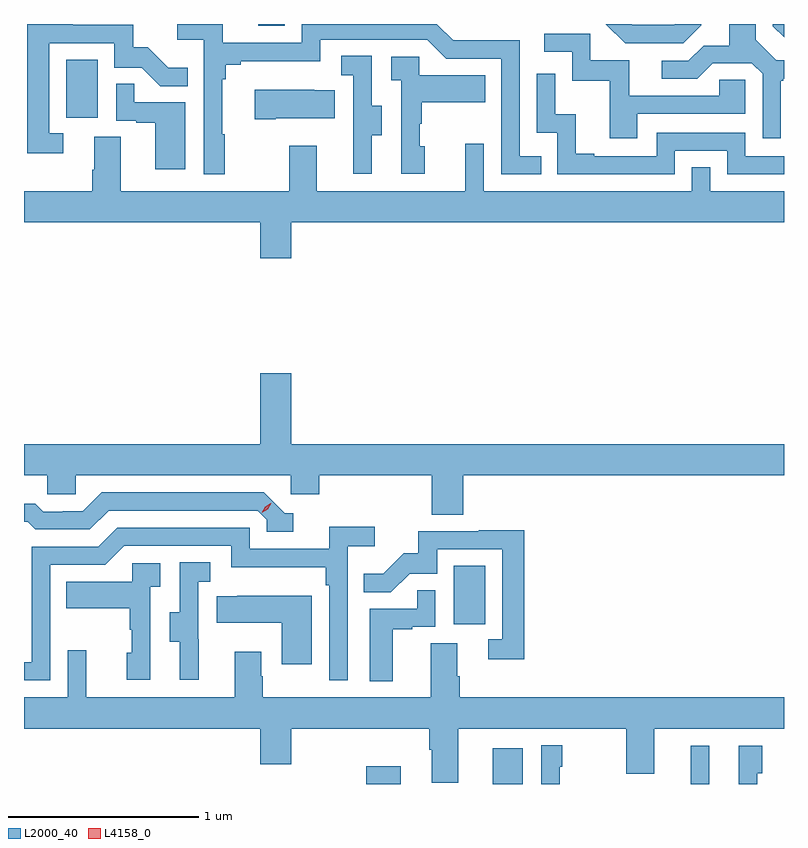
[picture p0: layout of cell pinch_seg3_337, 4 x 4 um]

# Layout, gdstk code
import gdstk
lib = gdstk.Library(unit=1e-6, precision=1e-09)
def R(c, l, rs):  # rectangles x0, y0, x1, y1
    for r in rs: c.add(gdstk.rectangle(r[:2], r[2:], *l))
def P(c, l, *ps):  # polygons
    for p in ps: c.add(gdstk.Polygon(p, *l))
L2000_40 = (2000, 40)
L4158_0 = (4158, 0)

pinch_seg3_337 = lib.new_cell('pinch_seg3_337')
R(pinch_seg3_337, L2000_40, [(956.775,725.932,956.956,726.025), (957.44,725.932,957.598,726.121), (958.481,725.932,958.579,726.133), (957.236,726.774,957.4,727.081), (955.196,729.438,955.36,729.745), (956.207,729.924,956.346,729.932)])
P(pinch_seg3_337, L2000_40, [(955.18,729.357),(955.107,729.357),(955.107,729.831),(955.449,729.831),(955.449,729.702),(955.593,729.702),(955.691,729.604),(955.835,729.604),(955.835,729.703),(955.731,729.703),(955.624,729.81),(955.548,729.81),(955.548,729.927),(955.229,729.927),(955.229,729.932),(954.991,729.932),(954.991,729.252),(955.18,729.252)],
  [(958.537,729.925),(958.537,729.932),(958.397,729.932),(958.392,729.927),(958.176,729.927),(958.171,729.932),(958.036,729.932),(958.137,729.831),(958.443,729.831)],
  [(958.957,729.633),(958.969,729.633),(958.969,729.644),(958.973,729.644),(958.973,729.741),(958.932,729.741),(958.825,729.848),(958.825,729.932),(958.685,729.932),(958.685,729.818),(958.55,729.818),(958.47,729.738),(958.329,729.738),(958.329,729.645),(958.516,729.645),(958.597,729.726),(958.803,729.726),(958.86,729.669),(958.86,729.33),(958.957,729.33)],
  [(958.973,729.932),(958.914,729.932),(958.914,729.921),(958.973,729.862)],
  [(956.029,729.353),(956.017,729.353),(956.017,729.641),(956.036,729.641),(956.036,729.718),(956.113,729.718),(956.113,729.737),(956.532,729.737),(956.532,729.849),(957.096,729.849),(957.195,729.75),(957.486,729.75),(957.486,729.141),(957.695,729.141),(957.695,729.237),(957.582,729.237),(957.582,729.846),(957.232,729.846),(957.146,729.932),(956.436,729.932),(956.436,729.834),(956.018,729.834),(956.018,729.932),(955.779,729.932),(955.779,729.848),(955.92,729.848),(955.92,729.141),(956.029,729.141)],
  [(958.201,729.459),(958.77,729.459),(958.77,729.639),(958.633,729.639),(958.633,729.555),(958.159,729.555),(958.159,729.741),(957.954,729.741),(957.954,729.882),(957.711,729.882),(957.711,729.786),(957.858,729.786),(957.858,729.633),(958.057,729.633),(958.057,729.33),(958.201,729.33)],
  [(956.803,729.346),(956.857,729.346),(956.857,729.501),(956.802,729.501),(956.802,729.764),(956.643,729.764),(956.643,729.661),(956.706,729.661),(956.706,729.357),(956.705,729.357),(956.705,729.144),(956.803,729.144)],
  [(957.082,729.288),(957.057,729.288),(957.057,729.407),(957.067,729.407),(957.067,729.521),(957.401,729.521),(957.401,729.661),(957.054,729.661),(957.054,729.759),(956.907,729.759),(956.907,729.635),(956.958,729.635),(956.958,729.144),(957.082,729.144)],
  [(958.398,729.264),(958.674,729.264),(958.674,729.141),(958.973,729.141),(958.973,729.237),(958.77,729.237),(958.77,729.36),(958.302,729.36),(958.302,729.237),(957.973,729.237),(957.973,729.25),(957.878,729.25),(957.878,729.458),(957.768,729.458),(957.768,729.67),(957.672,729.67),(957.672,729.36),(957.78,729.36),(957.78,729.141),(958.398,729.141)],
  [(955.822,729.519),(955.553,729.519),(955.553,729.617),(955.458,729.617),(955.458,729.423),(955.565,729.423),(955.565,729.411),(955.664,729.411),(955.664,729.168),(955.822,729.168)],
  [(956.299,729.437),(956.609,729.437),(956.609,729.583),(956.501,729.583),(956.501,729.586),(956.187,729.586),(956.187,729.43),(956.299,729.43)],
  [(956.38,728.888),(958.973,728.888),(958.973,729.052),(958.584,729.052),(958.584,729.179),(958.488,729.179),(958.488,729.052),(957.393,729.052),(957.393,729.301),(957.296,729.301),(957.296,729.052),(956.515,729.052),(956.515,729.292),(956.368,729.292),(956.368,729.052),(955.483,729.052),(955.483,729.338),(955.343,729.338),(955.343,729.164),(955.331,729.164),(955.331,729.052),(954.973,729.052),(954.973,728.888),(956.216,728.888),(956.216,728.7),(956.38,728.7)],
  [(957.284,727.556),(958.973,727.556),(958.973,727.72),(956.38,727.72),(956.38,728.095),(956.216,728.095),(956.216,727.72),(954.973,727.72),(954.973,727.556),(955.095,727.556),(955.095,727.458),(955.245,727.458),(955.245,727.556),(956.376,727.556),(956.376,727.458),(956.528,727.458),(956.528,727.556),(957.119,727.556),(957.119,727.348),(957.284,727.348)],
  [(956.389,727.356),(956.346,727.356),(956.235,727.467),(955.382,727.467),(955.283,727.368),(955.176,727.368),(955.176,727.365),(955.073,727.365),(955.031,727.408),(954.973,727.408),(954.973,727.311),(954.992,727.311),(955.031,727.272),(955.32,727.272),(955.419,727.371),(956.202,727.371),(956.25,727.323),(956.25,727.26),(956.389,727.26)],
  [(955.11,727.086),(955.401,727.086),(955.5,727.185),(956.064,727.185),(956.064,727.073),(956.56,727.073),(956.56,726.977),(956.58,726.977),(956.58,726.477),(956.676,726.477),(956.676,727.184),(956.818,727.184),(956.818,727.286),(956.579,727.286),(956.579,727.17),(956.16,727.17),(956.16,727.281),(955.463,727.281),(955.364,727.182),(955.014,727.182),(955.014,726.573),(954.973,726.573),(954.973,726.477),(955.11,726.477)],
  [(957.605,727.268),(957.367,727.268),(957.367,727.263),(957.049,727.263),(957.049,727.146),(956.972,727.146),(956.865,727.039),(956.761,727.039),(956.761,726.94),(956.904,726.94),(957.002,727.038),(957.147,727.038),(957.147,727.167),(957.489,727.167),(957.489,726.693),(957.417,726.693),(957.417,726.588),(957.605,726.588)],
  [(955.892,726.693),(955.89,726.693),(955.89,726.997),(955.954,726.997),(955.954,727.1),(955.794,727.1),(955.794,726.837),(955.739,726.837),(955.739,726.682),(955.793,726.682),(955.793,726.48),(955.892,726.48)],
  [(955.638,726.971),(955.69,726.971),(955.69,727.095),(955.542,727.095),(955.542,726.997),(955.195,726.997),(955.195,726.857),(955.53,726.857),(955.53,726.743),(955.54,726.743),(955.54,726.624),(955.514,726.624),(955.514,726.48),(955.638,726.48)],
  [(956.914,726.747),(957.017,726.747),(957.017,726.759),(957.138,726.759),(957.138,726.953),(957.043,726.953),(957.043,726.855),(956.792,726.855),(956.792,726.473),(956.914,726.473)],
  [(956.488,726.922),(956.095,726.922),(956.095,726.919),(955.987,726.919),(955.987,726.782),(956.33,726.782),(956.33,726.561),(956.488,726.561)],
  [(957.259,726.224),(958.144,726.224),(958.144,725.985),(958.291,725.985),(958.291,726.224),(958.973,726.224),(958.973,726.388),(957.266,726.388),(957.266,726.5),(957.253,726.5),(957.253,726.674),(957.113,726.674),(957.113,726.388),(956.229,726.388),(956.229,726.5),(956.221,726.5),(956.221,726.628),(956.081,726.628),(956.081,726.388),(955.301,726.388),(955.301,726.637),(955.203,726.637),(955.203,726.388),(954.973,726.388),(954.973,726.224),(956.216,726.224),(956.216,726.036),(956.38,726.036),(956.38,726.224),(957.107,726.224),(957.107,726.112),(957.119,726.112),(957.119,725.938),(957.259,725.938)],
  [(957.792,726.023),(957.805,726.023),(957.805,726.136),(957.696,726.136),(957.696,725.932),(957.792,725.932)],
  [(958.833,725.988),(958.858,725.988),(958.858,726.133),(958.734,726.133),(958.734,725.932),(958.833,725.932)])
P(pinch_seg3_337, L4158_0, [(956.225,727.359),(956.225,727.359),(956.242,727.391),(956.272,727.409),(956.273,727.409),(956.273,727.409),(956.256,727.377),(956.225,727.359)])

lib.write_gds('pinch_seg3_337.gds')
